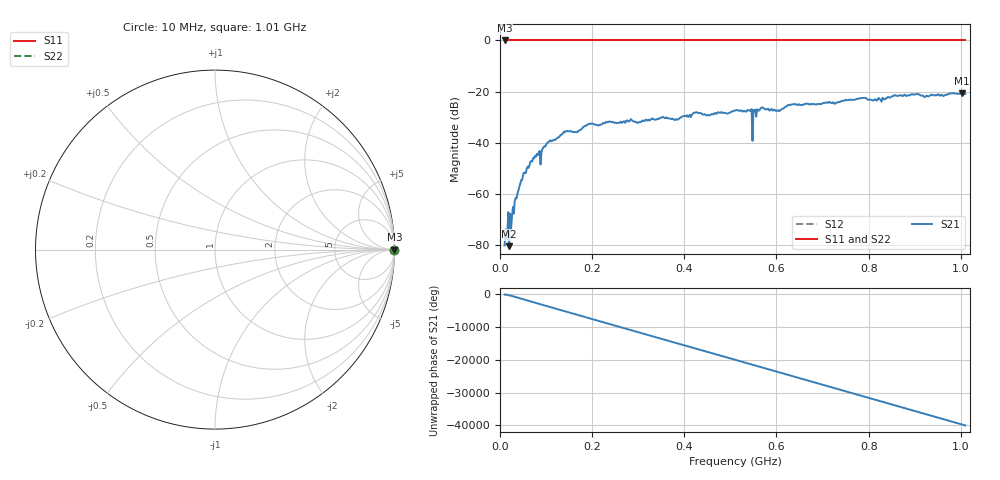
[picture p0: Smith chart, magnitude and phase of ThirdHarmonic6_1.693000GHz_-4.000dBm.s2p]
! 8/16/2025 8:20:00 PM
! C:\ANRITSUVNA\TEMP\TEMP.S2P
! CHANNEL.1
! TR.MEASUREMENT
! RAW.DATA
! RF.CORRECTION.OFF
! AVERAGING.OFF
! IF.BANDWIDTH: 5KHZ
! SWEEPTYPE:  FREQ.SWEEP(Linear)
! Reference Plane Port Info
! PORT:  PORT1  PORT2
! DISTANCE:  0  m  0  m
! TIME:  0  s  0  s
! PHASE.OFFSET:  0  deg.  0  deg.
! LOSS:  0  dB  0  dB
! REF.LOSS:  0  dB  0  dB
! REF.FREQ:  0  Hz  0  Hz
! Power Info
! POWER:  -20  dBm  -20  dBm
! EFF.POWER:  -20  dBm  -20  dBm
! SOURCE.ATTEN:  0  dB  0  dB
! TEST.ATTEN:  0  dB  0  dB
# GHZ S RI R 50.0
! FREQ.GHZ  S11RE  S11IM  S21RE  S21IM  S12RE  S12IM  S22RE  S22IM
!; PortSelection: Port_12
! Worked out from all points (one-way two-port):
!   501 points, 10 MHz to 1.01 GHz, reference 50 ohm
!   highest |S21| = -20.63 dB at 1.002 GHz (marker M1); lowest = -80.5 dB at 20 MHz (marker M2)
!   lowest |S11| = 0.0 dB at 10 MHz (marker M3)
!   |S11| at or under -10 dB: nowhere
!   |S22| runs from 0.0 to 0.0 dB; largest |S21 - S12| = 1.1
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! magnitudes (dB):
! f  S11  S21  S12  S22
! 10 MHz  0.0  -80.2  0.0  0.0
! 14 MHz  0.0  -77.9  0.0  0.0
! 20 MHz  0.0  -80.5  0.0  0.0
! 48 MHz  0.0  -54.6  0.0  0.0
! 70 MHz  0.0  -47.4  0.0  0.0
! 106 MHz  0.0  -39.6  0.0  0.0
! 142 MHz  0.0  -35.7  0.0  0.0
! 178 MHz  0.0  -34.4  0.0  0.0
! 196 MHz  0.0  -32.5  0.0  0.0
! 344 MHz  0.0  -30.8  0.0  0.0
! 510 MHz  0.0  -27.4  0.0  0.0
! 542 MHz  0.0  -27.6  0.0  0.0
! 544 MHz  0.0  -27.5  0.0  0.0
! 552 MHz  0.0  -27.5  0.0  0.0
! 554 MHz  0.0  -27.1  0.0  0.0
! 568 MHz  0.0  -26.2  0.0  0.0
! 604 MHz  0.0  -27.3  0.0  0.0
! 632 MHz  0.0  -25.0  0.0  0.0
! 678 MHz  0.0  -24.9  0.0  0.0
! 844 MHz  0.0  -22.3  0.0  0.0
! 1.002 GHz  0.0  -20.6  0.0  0.0
! 1.01 GHz  0.0  -20.9  0.0  0.0
